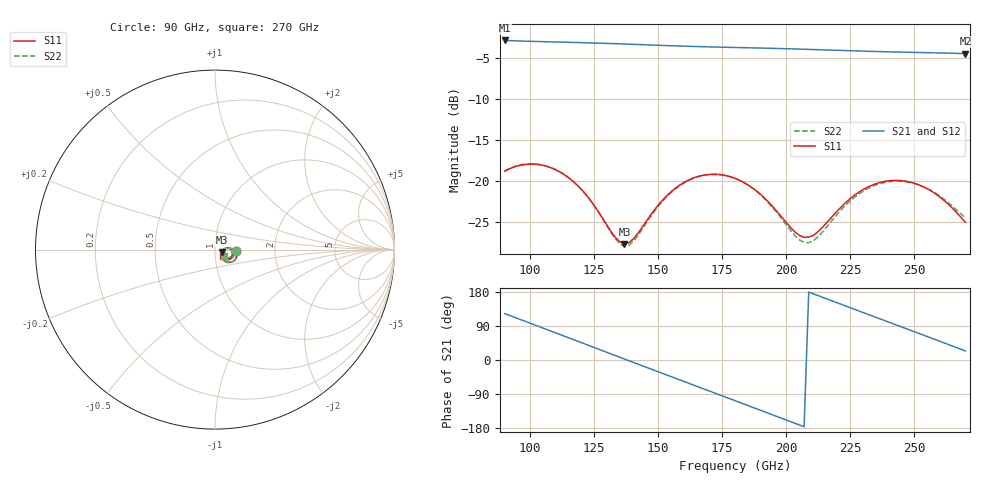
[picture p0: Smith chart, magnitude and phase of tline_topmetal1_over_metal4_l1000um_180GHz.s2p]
#  GHZ S DB R 50
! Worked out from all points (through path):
!   101 points, 90 GHz to 270 GHz, reference 50 ohm
!   highest |S21| = -2.83 dB at 90 GHz (marker M1); lowest = -4.4 dB at 270 GHz (marker M2)
!   group delay of S21, straight-line fit = 7.08 ps
!   lowest |S11| = -27.7 dB at 136.8 GHz (marker M3), VSWR 1.09, Z = 54 - j1.62 ohm
!   |S11| at or under -10 dB: start of sweep to end of sweep
!   |S22| runs from -28.0 to -17.9 dB; largest |S21 - S12| = 8.3e-14
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90  -18.80 -3.9  -2.83 122.5  -2.83 122.5  -18.77 -4.6
97.2  -18.01 -15.0  -2.91 104.2  -2.91 104.2  -17.97 -15.8
104.4  -18.05 -26.8  -2.97 85.8  -2.97 85.8  -18.01 -27.7
111.6  -18.90 -37.9  -3.03 67.4  -3.03 67.4  -18.86 -39.1
120.6  -21.24 -48.4  -3.11 44.3  -3.11 44.3  -21.22 -50.0
129.6  -25.20 -46.3  -3.19 21.1  -3.19 21.1  -25.27 -48.5
136.8  -27.66 -21.2  -3.27 2.6  -3.27 2.6  -27.95 -23.0
140.4  -27.04 -5.5  -3.31 -6.6  -3.31 -6.6  -27.34 -6.4
151.2  -22.50 8.1  -3.44 -34.2  -3.44 -34.2  -22.62 7.8
165.6  -19.43 -7.7  -3.58 -70.7  -3.58 -70.7  -19.48 -8.3
172.8  -19.18 -18.4  -3.64 -89.0  -3.64 -89.0  -19.20 -19.3
180  -19.66 -28.8  -3.69 -107.3  -3.69 -107.3  -19.69 -30.1
187.2  -20.92 -37.5  -3.74 -125.6  -3.74 -125.6  -20.96 -39.2
196.2  -23.64 -41.5  -3.81 -148.6  -3.81 -148.6  -23.80 -44.0
205.2  -26.64 -26.4  -3.89 -171.6  -3.89 -171.6  -27.18 -28.7
210.6  -26.62 -8.8  -3.94 174.6  -3.94 174.6  -27.28 -8.9
217.8  -24.40 4.5  -4.02 156.3  -4.02 156.3  -24.84 6.1
226.8  -21.71 2.9  -4.11 133.5  -4.11 133.5  -21.95 4.8
241.2  -19.93 -14.4  -4.23 97.0  -4.23 97.0  -20.03 -12.3
248.4  -20.12 -24.3  -4.28 78.8  -4.28 78.8  -20.17 -22.0
255.6  -21.02 -33.3  -4.33 60.6  -4.33 60.6  -20.99 -30.5
270  -25.04 -38.5  -4.43 24.0  -4.43 24.0  -24.52 -34.1
